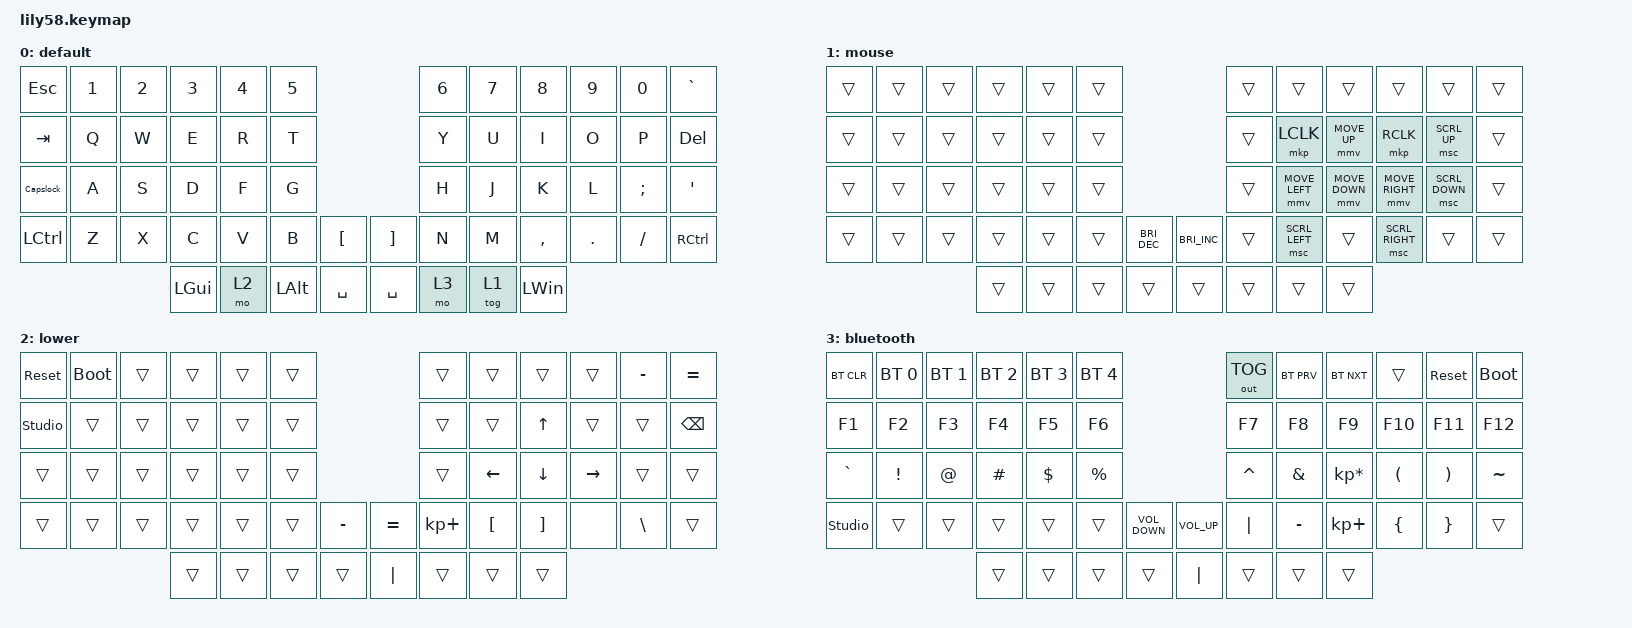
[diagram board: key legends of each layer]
/*
 * Copyright (c) 2020 The ZMK Contributors
 *
 * SPDX-License-Identifier: MIT
 */

#define ZMK_POINTING_DEFAULT_MOVE_VAL 600  // default: 600
#define ZMK_POINTING_DEFAULT_SCRL_VAL 10    // default: 10

#include <behaviors.dtsi>
#include <dt-bindings/zmk/bt.h>
#include <dt-bindings/zmk/ext_power.h>
#include <dt-bindings/zmk/keys.h>
#include <dt-bindings/zmk/outputs.h>
#include <dt-bindings/zmk/pointing.h>

/ {
    combos {
        compatible = "zmk,combos";

        backspace {
            bindings = <&kp BACKSPACE>;
            key-positions = <10 11>;
        };

        Enter {
            bindings = <&kp ENTER>;
            key-positions = <22 23>;
        };

        softOff {
            bindings = <&soft_off>;
            key-positions = <0 11>;
        };

        turnOff {
            bindings = <&ext_power EP_TOG>;
            key-positions = <36 49>;
        };

        lessThan {
            bindings = <&kp LESS_THAN>;
            key-positions = <52 53 10>;
        };

        greaterThan {
            bindings = <&kp GREATER_THAN>;
            key-positions = <52 53 11>;
        };

        CapsLock {
            bindings = <&kp CAPSLOCK>;
            key-positions = <49 24>;
        };
    };

    behaviors {
        Capslock: Capslock {
            compatible = "zmk,behavior-tap-dance";
            label = "CAPSLOCK";
            #binding-cells = <0>;
            bindings = <&kp LEFT_SHIFT>, <&caps_word>;

            tapping-term-ms = <300>;
        };
    };

    keymap {
        compatible = "zmk,keymap";

        default_layer {
            // ------------------------------------------------------------------------------------------------------------
            // |  ESC  |  1  |  2  |  3   |  4   |  5   |                   |  6   |  7    |  8    |  9   |   0   |   `   |
            // |  TAB  |  Q  |  W  |  E   |  R   |  T   |                   |  Y   |  U    |  I    |  O   |   P   |   -   |
            // |  CTRL |  A  |  S  |  D   |  F   |  G   |                   |  H   |  J    |  K    |  L   |   ;   |   '   |
            // | SHIFT |  Z  |  X  |  C   |  V   |  B   |   "["  |  |  "]"  |  N   |  M    |  ,    |  .   |   /   | SHIFT |
            //                     | GUI  | ALT  | LOWER|  SPACE |  | SPACE | RAISE| ENTER | GUI   |

            display-name = "default";
            bindings = <
&kp ESC    &kp N1  &kp N2  &kp N3    &kp N4  &kp N5                                &kp N6  &kp N7  &kp N8        &kp N9   &kp N0    &kp GRAVE
&kp TAB    &kp Q   &kp W   &kp E     &kp R   &kp T                                 &kp Y   &kp U   &kp I         &kp O    &kp P     &kp DEL
&Capslock  &kp A   &kp S   &kp D     &kp F   &kp G                                 &kp H   &kp J   &kp K         &kp L    &kp SEMI  &kp SQT
&kp LCTRL  &kp Z   &kp X   &kp C     &kp V   &kp B         &kp LBKT     &kp RBKT   &kp N   &kp M   &kp COMMA     &kp DOT  &kp FSLH  &kp RCTRL
                           &kp LGUI  &mo 2   &kp LEFT_ALT  &kp SPACE    &kp SPACE  &mo 3   &tog 1  &kp LEFT_WIN
            >;
        };

        mouse_layer {
            display-name = "mouse";
            bindings = <
&trans  &trans  &trans  &trans  &trans  &trans                                                &trans  &trans          &trans          &trans           &trans          &trans
&trans  &trans  &trans  &trans  &trans  &trans                                                &trans  &mkp LCLK       &mmv MOVE_UP    &mkp RCLK        &msc SCRL_UP    &trans
&trans  &trans  &trans  &trans  &trans  &trans                                                &trans  &mmv MOVE_LEFT  &mmv MOVE_DOWN  &mmv MOVE_RIGHT  &msc SCRL_DOWN  &trans
&trans  &trans  &trans  &trans  &trans  &trans  &kp C_BRIGHTNESS_DEC    &kp C_BRIGHTNESS_INC  &trans  &msc SCRL_LEFT  &trans          &msc SCRL_RIGHT  &trans          &trans
                        &trans  &trans  &trans  &trans                  &trans                &trans  &trans          &trans
            >;

            label = "mouse";
        };

        lower_layer {
            // ------------------------------------------------------------------------------------------------------------
            // |       |     |     |      |      |      |                   |      |       |       |      |       |       |
            // |   `   |  1  |  2  |  3   |  4   |  5   |                   |  6   |   7   |   8   |  9   |   0   |       |
            // |   F1  |  F2 |  F3 |  F4  |  F5  |  F6  |                   |      |   <-  |   v   |  ^   |  ->   |       |
            // |   F7  |  F8 |  F9 |  F10 |  F11 |  F12 |        |  |       |  +   |   -   |   =   |  [   |   ]   |   \   |
            //                     |      |      |      |        |  |       |      |       |       |

            display-name = "lower";
            bindings = <
&sys_reset      &bootloader  &trans  &trans  &trans  &trans                          &trans       &trans            &trans             &trans     &kp MINUS      &kp EQUAL
&studio_unlock  &trans       &trans  &trans  &trans  &trans                          &trans       &trans            &kp UP_ARROW       &trans     &trans         &kp BACKSPACE
&trans          &trans       &trans  &trans  &trans  &trans                          &trans       &kp LEFT          &kp DOWN           &kp RIGHT  &trans         &trans
&trans          &trans       &trans  &trans  &trans  &trans  &kp MINUS    &kp EQUAL  &kp KP_PLUS  &kp LEFT_BRACKET  &kp RIGHT_BRACKET  &none      &kp BACKSLASH  &trans
                                     &trans  &trans  &trans  &trans       &kp PIPE   &trans       &trans            &trans
            >;

            label = "lower";
        };

        raise_layer {
            // ------------------------------------------------------------------------------------------------------------
            // | BTCLR | BT1 | BT2 |  BT3 |  BT4 |  BT5 |                   |      |       |       |      |       |       |
            // |  F1   |  F2 |  F3 |  F4  |  F5  |  F6  |                   |  F7  |  F8   |  F9   |  F10 |  F11  |  F12  |
            // |   `   |  !  |  @  |  #   |  $   |  %   |                   |  ^   |  &    |  *    |  (   |   )   |   ~   |
            // |       |     |     |      |      |      |        |  |       |      |  _    |  +    |  {   |   }   |  "|"  |
            //                     |      |      |      |        |  |       |      |       |       |

            display-name = "bluetooth";
            bindings = <
&bt BT_CLR      &bt BT_SEL 0  &bt BT_SEL 1  &bt BT_SEL 2  &bt BT_SEL 3  &bt BT_SEL 4                                        &out OUT_TOG  &bt BT_PRV  &bt BT_NXT       &trans    &sys_reset  &bootloader
&kp F1          &kp F2        &kp F3        &kp F4        &kp F5        &kp F6                                              &kp F7        &kp F8      &kp F9           &kp F10   &kp F11     &kp F12
&kp GRAVE       &kp EXCL      &kp AT        &kp HASH      &kp DOLLAR    &kp PRCNT                                           &kp CARET     &kp AMPS    &kp KP_MULTIPLY  &kp LPAR  &kp RPAR    &kp TILDE
&studio_unlock  &trans        &trans        &trans        &trans        &trans        &kp C_VOLUME_DOWN    &kp C_VOLUME_UP  &kp PIPE      &kp MINUS   &kp KP_PLUS      &kp LBRC  &kp RBRC    &trans
                                            &trans        &trans        &trans        &trans               &kp PIPE         &trans        &trans      &trans
            >;

            label = "raise";
        };
    };
};
